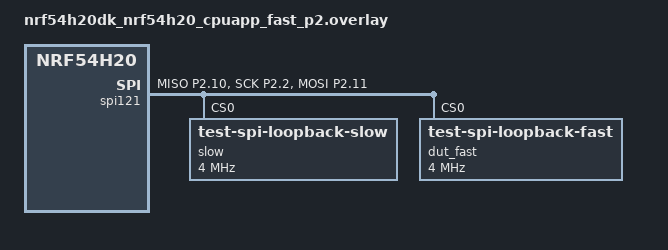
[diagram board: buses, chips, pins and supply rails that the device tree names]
/*
 * Copyright (c) 2024 Nordic Semiconductor ASA
 *
 * SPDX-License-Identifier: Apache-2.0
 */

&pinctrl {
	spi121_default: spi121_default {
		group1 {
			psels = <NRF_PSEL(SPIM_MISO, 2, 10)>;
		};

		group2 {
			psels = <NRF_PSEL(SPIM_SCK, 2, 2)>,
				<NRF_PSEL(SPIM_MOSI, 2, 11)>;
			nordic,drive-mode = <NRF_DRIVE_H0H1>;
		};
	};

	spi121_sleep: spi121_sleep {
		group1 {
			psels = <NRF_PSEL(SPIM_SCK, 2, 2)>,
				<NRF_PSEL(SPIM_MISO, 2, 10)>,
				<NRF_PSEL(SPIM_MOSI, 2, 11)>;
			low-power-enable;
		};
	};
};

&dma_fast_region {
	status = "okay";
};

&nfct {
	nfct-pins-as-gpios;
	status = "disabled";
};

&gpio2 {
	status = "okay";
};

&spi121 {
	pinctrl-0 = <&spi121_default>;
	pinctrl-1 = <&spi121_sleep>;
	pinctrl-names = "default", "sleep";
	overrun-character = <0x00>;
	memory-regions = <&dma_fast_region>;
	zephyr,pm-device-runtime-auto;
	status = "okay";

	slow@0 {
		compatible = "test-spi-loopback-slow";
		reg = <0>;
		spi-max-frequency = <DT_FREQ_M(4)>;
	};

	dut_fast: fast@0 {
		compatible = "test-spi-loopback-fast";
		reg = <0>;
		spi-max-frequency = <DT_FREQ_M(4)>;
	};
};
